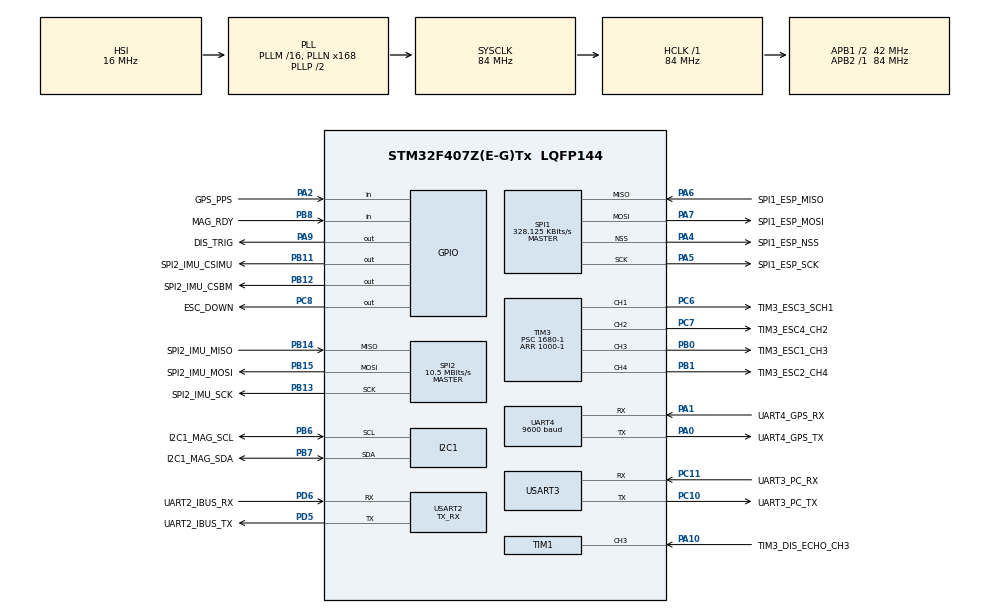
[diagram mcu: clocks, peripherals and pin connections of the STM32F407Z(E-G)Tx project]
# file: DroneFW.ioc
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Dma.Request0=USART2_RX
Dma.USART2_RX.0.Direction=DMA_PERIPH_TO_MEMORY
Dma.USART2_RX.0.FIFOMode=DMA_FIFOMODE_DISABLE
Dma.USART2_RX.0.Instance=DMA1_Stream5
Dma.USART2_RX.0.MemDataAlignment=DMA_MDATAALIGN_BYTE
Dma.USART2_RX.0.MemInc=DMA_MINC_ENABLE
Dma.USART2_RX.0.Mode=DMA_NORMAL
Dma.USART2_RX.0.PeriphDataAlignment=DMA_PDATAALIGN_BYTE
Dma.USART2_RX.0.PeriphInc=DMA_PINC_DISABLE
Dma.USART2_RX.0.Priority=DMA_PRIORITY_VERY_HIGH
FREERTOS.BinarySemaphores01=RemoteBufferSemaphore,Dynamic,NULL;DistSemaphore,Dynamic,NULL;GpsBufferSemaphore,Dynamic,NULL
FREERTOS.Mutexes01=MagnMutex,Dynamic,NULL;RemoteDataMutex,Dynamic,NULL;ImuMutex,Dynamic,NULL;GpsDataMutex,Dynamic,NULL;DistMutex,Dynamic,NULL
FREERTOS.Tasks01=TaskSensorData,3,512,RunTaskSensorData,Default,NULL,Dynamic,NULL,NULL;TaskController,1,128,RunTaskController,Default,NULL,Dynamic,NULL,NULL;TaskRemote,2,512,RunTaskRemote,Default,NULL,Dynamic,NULL,NULL;TaskMotor,0,128,RunTaskMotor,Default,NULL,Dynamic,NULL,NULL;TaskPower,-1,128,RunTaskPower,Default,NULL,Dynamic,NULL,NULL;TaskDiagnostics,-2,512,RunTaskDiagnostics,Default,NULL,Dynamic,NULL,NULL
FREERTOS.configUSE_NEWLIB_REENTRANT=1
FREERTOS.configUSE_PREEMPTION=0
I2C1.I2C_Mode=I2C_Standard
Mcu.Family=STM32F4
Mcu.Name=STM32F407Z(E-G)Tx
Mcu.Package=LQFP144
NVIC.DMA1_Stream5_IRQn=true\:5\:0\:false\:false\:true\:true\:false\:true\:true
NVIC.PriorityGroup=NVIC_PRIORITYGROUP_4
NVIC.TIM1_CC_IRQn=true\:6\:0\:true\:false\:true\:true\:true\:true\:true
NVIC.TIM6_DAC_IRQn=true\:15\:0\:false\:false\:true\:false\:false\:true\:true
NVIC.TimeBase=TIM6_DAC_IRQn
NVIC.TimeBaseIP=TIM6
NVIC.UART4_IRQn=true\:7\:0\:true\:false\:true\:true\:true\:true\:true
NVIC.USART2_IRQn=true\:5\:0\:false\:false\:true\:true\:true\:true\:true
PA0-WKUP.GPIO_Label=UART4_GPS_TX
PA0-WKUP.Mode=Asynchronous
PA0-WKUP.Signal=UART4_TX
PA1.GPIO_Label=UART4_GPS_RX
PA1.Mode=Asynchronous
PA1.Signal=UART4_RX
PA10.GPIO_Label=TIM3_DIS_ECHO_CH3
PA10.Signal=S_TIM1_CH3
PA13.Mode=Trace_Asynchronous_SW
PA13.Signal=SYS_JTMS-SWDIO
PA14.Mode=Trace_Asynchronous_SW
PA14.Signal=SYS_JTCK-SWCLK
PA2.GPIO_Label=GPS_PPS
PA2.Signal=GPIO_Input
PA4.GPIO_Label=SPI1_ESP_NSS
PA4.Mode=NSS_Signal_Hard_Output
PA4.Signal=SPI1_NSS
PA5.GPIO_Label=SPI1_ESP_SCK
PA5.Mode=Full_Duplex_Master
PA5.Signal=SPI1_SCK
PA6.GPIO_Label=SPI1_ESP_MISO
PA6.Mode=Full_Duplex_Master
PA6.Signal=SPI1_MISO
PA7.GPIO_Label=SPI1_ESP_MOSI
PA7.Mode=Full_Duplex_Master
PA7.Signal=SPI1_MOSI
PA9.GPIO_Label=DIS_TRIG
PA9.Signal=GPIO_Output
PB0.GPIO_Label=TIM3_ESC1_CH3
PB0.Signal=S_TIM3_CH3
PB1.GPIO_Label=TIM3_ESC2_CH4
PB1.Signal=S_TIM3_CH4
PB11.GPIO_Label=SPI2_IMU_CSIMU
PB11.Signal=GPIO_Output
PB12.GPIO_Label=SPI2_IMU_CSBM
PB12.Signal=GPIO_Output
PB13.GPIO_Label=SPI2_IMU_SCK
PB13.Mode=Full_Duplex_Master
PB13.Signal=SPI2_SCK
PB14.GPIO_Label=SPI2_IMU_MISO
PB14.Mode=Full_Duplex_Master
PB14.Signal=SPI2_MISO
PB15.GPIO_Label=SPI2_IMU_MOSI
PB15.Mode=Full_Duplex_Master
PB15.Signal=SPI2_MOSI
PB3.Mode=Trace_Asynchronous_SW
PB3.Signal=SYS_JTDO-SWO
PB6.GPIO_Label=I2C1_MAG_SCL
PB6.Mode=I2C
PB6.Signal=I2C1_SCL
PB7.GPIO_Label=I2C1_MAG_SDA
PB7.Mode=I2C
PB7.Signal=I2C1_SDA
PB8.GPIO_Label=MAG_RDY
PB8.Signal=GPIO_Input
PC10.GPIO_Label=UART3_PC_TX
PC10.Mode=Asynchronous
PC10.Signal=USART3_TX
PC11.GPIO_Label=UART3_PC_RX
PC11.Mode=Asynchronous
PC11.Signal=USART3_RX
PC6.GPIO_Label=TIM3_ESC3_SCH1
PC6.Signal=S_TIM3_CH1
PC7.GPIO_Label=TIM3_ESC4_CH2
PC7.Signal=S_TIM3_CH2
PC8.GPIO_Label=ESC_DOWN
PC8.Signal=GPIO_Output
PD5.GPIO_Label=UART2_IBUS_TX
PD5.Mode=Asynchronous
PD5.Signal=USART2_TX
PD6.GPIO_Label=UART2_IBUS_RX
PD6.Mode=Asynchronous
PD6.Signal=USART2_RX
ProjectManager.HeapSize=0x200
ProjectManager.StackSize=0x400
ProjectManager.TargetToolchain=STM32CubeIDE
RCC.48MHZClocksFreq_Value=42000000
RCC.AHBFreq_Value=84000000
RCC.APB1CLKDivider=RCC_HCLK_DIV2
RCC.APB1Freq_Value=42000000
RCC.APB1TimFreq_Value=84000000
RCC.APB2Freq_Value=84000000
RCC.APB2TimFreq_Value=84000000
RCC.CortexFreq_Value=84000000
RCC.HCLKFreq_Value=84000000
RCC.HSE_VALUE=25000000
RCC.HSI_VALUE=16000000
RCC.LSE_VALUE=32768
RCC.PLLN=168
RCC.SYSCLKFreq_VALUE=84000000
RCC.SYSCLKSource=RCC_SYSCLKSOURCE_PLLCLK
RCC.VCOOutputFreq_Value=168000000
SH.S_TIM1_CH3.0=TIM1_CH3,Input_Capture3_from_TI3
SH.S_TIM3_CH1.0=TIM3_CH1,PWM Generation1 CH1
SH.S_TIM3_CH2.0=TIM3_CH2,PWM Generation2 CH2
SH.S_TIM3_CH3.0=TIM3_CH3,PWM Generation3 CH3
SH.S_TIM3_CH4.0=TIM3_CH4,PWM Generation4 CH4
SPI1.BaudRatePrescaler=SPI_BAUDRATEPRESCALER_256
SPI1.CalculateBaudRate=328.125 KBits/s
SPI1.Direction=SPI_DIRECTION_2LINES
SPI1.Mode=SPI_MODE_MASTER
SPI1.VirtualNSS=VM_NSSHARD
SPI1.VirtualType=VM_MASTER
SPI2.BaudRatePrescaler=SPI_BAUDRATEPRESCALER_4
SPI2.CLKPhase=SPI_PHASE_2EDGE
SPI2.CLKPolarity=SPI_POLARITY_HIGH
SPI2.CalculateBaudRate=10.5 MBits/s
SPI2.Direction=SPI_DIRECTION_2LINES
SPI2.Mode=SPI_MODE_MASTER
SPI2.VirtualType=VM_MASTER
TIM1.AutoReloadPreload=TIM_AUTORELOAD_PRELOAD_ENABLE
TIM1.Channel-Input_Capture3_from_TI3=TIM_CHANNEL_3
TIM1.Period=65535-1
TIM1.Prescaler=84-1
TIM3.AutoReloadPreload=TIM_AUTORELOAD_PRELOAD_ENABLE
TIM3.Channel-PWM\ Generation1\ CH1=TIM_CHANNEL_1
TIM3.Channel-PWM\ Generation2\ CH2=TIM_CHANNEL_2
TIM3.Channel-PWM\ Generation3\ CH3=TIM_CHANNEL_3
TIM3.Channel-PWM\ Generation4\ CH4=TIM_CHANNEL_4
TIM3.Period=1000-1
TIM3.Prescaler=1680-1
UART4.BaudRate=9600
UART4.VirtualMode=Asynchronous
USART2.Mode=MODE_TX_RX
USART2.StopBits=STOPBITS_1
USART2.VirtualMode=VM_ASYNC
USART3.VirtualMode=VM_ASYNC
VP_FREERTOS_VS_CMSIS_V1.Mode=CMSIS_V1
VP_SYS_VS_tim6.Mode=TIM6
VP_TIM1_VS_ClockSourceINT.Mode=Internal
VP_TIM3_VS_ClockSourceINT.Mode=Internal
board=custom

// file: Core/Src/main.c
/* USER CODE BEGIN Header */
/**
 ******************************************************************************
 * @file           : main.c
 * @brief          : Main program body
 ******************************************************************************
 * @attention
 *
 * Copyright (c) 2023 STMicroelectronics.
 * All rights reserved.
 *
 * This software is licensed under terms that can be found in the LICENSE file
 * in the root directory of this software component.
 * If no LICENSE file comes with this software, it is provided AS-IS.
 *
 ******************************************************************************
 */
/* USER CODE END Header */
#include "main.h"
#include "cmsis_os.h"

/* USER CODE BEGIN Includes */

#include "stdio.h"
#include "string.h"
#include "stdbool.h"
#include "core_cm4.h"
#include "Globals.h"

#include "TaskSensorData.h"
#include "TaskController.h"
#include "TaskRemote.h"
#include "TaskMotor.h"
#include "TaskPower.h"
#include "TaskDiagnostics.h"

#include "Debug.h"

/* USER CODE END Includes */

I2C_HandleTypeDef hi2c1;

SPI_HandleTypeDef hspi1;
SPI_HandleTypeDef hspi2;

TIM_HandleTypeDef htim1;
TIM_HandleTypeDef htim3;

UART_HandleTypeDef huart4;
UART_HandleTypeDef huart2;
UART_HandleTypeDef huart3;
DMA_HandleTypeDef hdma_usart2_rx;

osThreadId TaskSensorDataHandle;
osThreadId TaskControllerHandle;
osThreadId TaskRemoteHandle;
osThreadId TaskMotorHandle;
osThreadId TaskPowerHandle;
osThreadId TaskDiagnosticsHandle;
osMutexId MagnMutexHandle;
osMutexId RemoteDataMutexHandle;
osMutexId ImuMutexHandle;
osMutexId GpsDataMutexHandle;
osMutexId DistMutexHandle;
osSemaphoreId RemoteBufferSemaphoreHandle;
osSemaphoreId DistSemaphoreHandle;
osSemaphoreId GpsBufferSemaphoreHandle;

void SystemClock_Config(void);
static void MX_GPIO_Init(void);
static void MX_DMA_Init(void);
static void MX_SPI2_Init(void);
static void MX_TIM3_Init(void);
static void MX_USART2_UART_Init(void);
static void MX_I2C1_Init(void);
static void MX_TIM1_Init(void);
static void MX_UART4_Init(void);
static void MX_SPI1_Init(void);
static void MX_USART3_UART_Init(void);
void RunTaskSensorData(void const * argument);
void RunTaskController(void const * argument);
void RunTaskRemote(void const * argument);
void RunTaskMotor(void const * argument);
void RunTaskPower(void const * argument);
void RunTaskDiagnostics(void const * argument);

/* USER CODE BEGIN 0 */
void HAL_UART_RxCpltCallback(UART_HandleTypeDef *huart)
{
	if (huart == &huart2)
	{
		Uart2CallbackCounter++;

		// If we are just getting the header bytes or the actual data
		if ((IbusPackageIndex == 0 && Uart2Buffer == 0x20)
				|| (IbusPackageIndex == 1 && Uart2Buffer == 0x40)
				|| (1 < IbusPackageIndex && IbusPackageIndex < IBUS_BUFFSIZE))
		{
			IbusPackageBuffer[IbusPackageIndex] = Uart2Buffer;

			if (IbusPackageIndex < IBUS_BUFFSIZE-1)
				IbusPackageIndex++;
			else
			{
				IbusPackageIndex = 0;
				ProcessIbusPackageBuffer = true;

				osSemaphoreRelease(RemoteBufferSemaphoreHandle);
			}
		}
		else
		{
			IbusPackageIndex = 0;

			char str[32];
			sprintf(str, "UART Receive Error: [%d]\r\n", Uart2CallbackCounter);
			HAL_UART_Transmit(&huart3, str, strlen(str), HAL_MAX_DELAY);
		}

		HAL_UART_Receive_IT(&huart2, &Uart2Buffer, 1);
	}
	else if (huart == &huart4)
	{
		if ((GPSPackageIndex == 0 && Uart4Buffer == '$')
				|| (GPSPackageIndex == 1 && Uart4Buffer == 'G')
				|| (1 < GPSPackageIndex && GPSPackageIndex < GPS_BUFFSIZE))
		{
			GPSPackageBuffer[GPSPackageIndex] = Uart4Buffer;

			if (GPSPackageIndex < GPS_BUFFSIZE-1)
				GPSPackageIndex++;
			else
			{
				GPSPackageIndex = 0;
				ProcessGPSPackageBuffer = true;

				osSemaphoreRelease(GpsBufferSemaphoreHandle);
			}
		}
		else
		{
			GPSPackageIndex = 0;

			// TODO
			//char str[32];
			//sprintf(str, "UART Receive Error: GPS\r\n");
			//HAL_UART_Transmit(&huart3, str, strlen(str), HAL_MAX_DELAY);
		}

		HAL_UART_Receive_DMA(&huart4, &Uart4Buffer, 1);
	}

}

void HAL_UART_ErrorCallback(UART_HandleTypeDef *huart)
{
	if (huart == &huart2)
	{
		if (huart->ErrorCode != 0)
		{
			Diag = false;

			char str[32];
			sprintf(str, "UART2 Error Callback: %d\r\n", huart->ErrorCode);
			HAL_UART_Transmit(&huart3, str, strlen(str), HAL_MAX_DELAY);
		}
	}
	else if (huart == &huart4)
		{
			if (huart->ErrorCode != 0)
			{
				Diag = false;

				char str[32];
				sprintf(str, "UART4 Error Callback: %d\r\n", huart->ErrorCode);
				HAL_UART_Transmit(&huart3, str, strlen(str), HAL_MAX_DELAY);
			}
		}
}

void HAL_TIM_IC_CaptureCallback(TIM_HandleTypeDef *htim)
{
	if (htim == &htim1)
	{
		HCSR04_TMR_IC_ISR(&HCSR04, htim);
	}
}
/* USER CODE END 0 */

int main(void)
{

  /* MCU Configuration--------------------------------------------------------*/

  /* Reset of all peripherals, Initializes the Flash interface and the Systick. */
  HAL_Init();

  /* Configure the system clock */
  SystemClock_Config();

  /* Initialize all configured peripherals */
  MX_GPIO_Init();
  MX_DMA_Init();
  MX_SPI2_Init();
  MX_TIM3_Init();
  MX_USART2_UART_Init();
  MX_I2C1_Init();
  MX_TIM1_Init();
  MX_UART4_Init();
  MX_SPI1_Init();
  MX_USART3_UART_Init();
  /* USER CODE BEGIN 2 */

  	// Init IMU
	if(MPU_Init(&hspi2, &MPU9250) == 0 && BMP280_initialize(&hspi2, &BMP280) == 0)
		IsImuAvailable = true;
	else
		IsImuAvailable = false;

	// Init Magnetometer
	if (HMC5883L_Init() == 0)
		IsMagnAvailable = true;
	else
		IsMagnAvailable = false;

	// Init Distance sensor
	if (HCSR04_Init(&HCSR04, &htim1) == 0)
		IsDistAvailable = true;
	else
		IsDistAvailable = false;

	// Init GPS
//	if (GPS_Init() == 0)
//		IsGpsAvailable = true;
//	else
//		IsGpsAvailable = false;

  /* USER CODE END 2 */

  /* Create the mutex(es) */
  /* definition and creation of MagnMutex */
  osMutexDef(MagnMutex);
  MagnMutexHandle = osMutexCreate(osMutex(MagnMutex));

  /* definition and creation of RemoteDataMutex */
  osMutexDef(RemoteDataMutex);
  RemoteDataMutexHandle = osMutexCreate(osMutex(RemoteDataMutex));

  /* definition and creation of ImuMutex */
  osMutexDef(ImuMutex);
  ImuMutexHandle = osMutexCreate(osMutex(ImuMutex));

  /* definition and creation of GpsDataMutex */
  osMutexDef(GpsDataMutex);
  GpsDataMutexHandle = osMutexCreate(osMutex(GpsDataMutex));

  /* definition and creation of DistMutex */
  osMutexDef(DistMutex);
  DistMutexHandle = osMutexCreate(osMutex(DistMutex));

  /* Create the semaphores(s) */
  /* definition and creation of RemoteBufferSemaphore */
  osSemaphoreDef(RemoteBufferSemaphore);
  RemoteBufferSemaphoreHandle = osSemaphoreCreate(osSemaphore(RemoteBufferSemaphore), 1);

  /* definition and creation of DistSemaphore */
  osSemaphoreDef(DistSemaphore);
  DistSemaphoreHandle = osSemaphoreCreate(osSemaphore(DistSemaphore), 1);

  /* definition and creation of GpsBufferSemaphore */
  osSemaphoreDef(GpsBufferSemaphore);
  GpsBufferSemaphoreHandle = osSemaphoreCreate(osSemaphore(GpsBufferSemaphore), 1);

  /* Create the thread(s) */
  /* definition and creation of TaskSensorData */
  osThreadDef(TaskSensorData, RunTaskSensorData, osPriorityRealtime, 0, 512);
  TaskSensorDataHandle = osThreadCreate(osThread(TaskSensorData), NULL);

  /* definition and creation of TaskController */
  osThreadDef(TaskController, RunTaskController, osPriorityAboveNormal, 0, 128);
  TaskControllerHandle = osThreadCreate(osThread(TaskController), NULL);

  /* definition and creation of TaskRemote */
  osThreadDef(TaskRemote, RunTaskRemote, osPriorityHigh, 0, 512);
  TaskRemoteHandle = osThreadCreate(osThread(TaskRemote), NULL);

  /* definition and creation of TaskMotor */
  osThreadDef(TaskMotor, RunTaskMotor, osPriorityNormal, 0, 128);
  TaskMotorHandle = osThreadCreate(osThread(TaskMotor), NULL);

  /* definition and creation of TaskPower */
  osThreadDef(TaskPower, RunTaskPower, osPriorityBelowNormal, 0, 128);
  TaskPowerHandle = osThreadCreate(osThread(TaskPower), NULL);

  /* definition and creation of TaskDiagnostics */
  osThreadDef(TaskDiagnostics, RunTaskDiagnostics, osPriorityLow, 0, 512);
  TaskDiagnosticsHandle = osThreadCreate(osThread(TaskDiagnostics), NULL);

  /* Start scheduler */
  osKernelStart();
  /* We should never get here as control is now taken by the scheduler */
  /* Infinite loop */
  /* USER CODE BEGIN WHILE */

	osMutexRelease(MagnMutexHandle);
	osMutexRelease(RemoteDataMutexHandle);
	osMutexRelease(ImuMutexHandle);
	osMutexRelease(GpsDataMutexHandle);

	while (1)
	{
    /* USER CODE END WHILE */

	}
}

void SystemClock_Config(void)
{
  RCC_OscInitTypeDef RCC_OscInitStruct = {0};
  RCC_ClkInitTypeDef RCC_ClkInitStruct = {0};

  /** Configure the main internal regulator output voltage
  */
  __HAL_RCC_PWR_CLK_ENABLE();
  __HAL_PWR_VOLTAGESCALING_CONFIG(PWR_REGULATOR_VOLTAGE_SCALE1);

  /** Initializes the RCC Oscillators according to the specified parameters
  * in the RCC_OscInitTypeDef structure.
  */
  RCC_OscInitStruct.OscillatorType = RCC_OSCILLATORTYPE_HSI;
  RCC_OscInitStruct.HSIState = RCC_HSI_ON;
  RCC_OscInitStruct.HSICalibrationValue = RCC_HSICALIBRATION_DEFAULT;
  RCC_OscInitStruct.PLL.PLLState = RCC_PLL_ON;
  RCC_OscInitStruct.PLL.PLLSource = RCC_PLLSOURCE_HSI;
  RCC_OscInitStruct.PLL.PLLM = 16;
  RCC_OscInitStruct.PLL.PLLN = 168;
  RCC_OscInitStruct.PLL.PLLP = RCC_PLLP_DIV2;
  RCC_OscInitStruct.PLL.PLLQ = 4;
  if (HAL_RCC_OscConfig(&RCC_OscInitStruct) != HAL_OK)
  {
    Error_Handler();
  }

  /** Initializes the CPU, AHB and APB buses clocks
  */
  RCC_ClkInitStruct.ClockType = RCC_CLOCKTYPE_HCLK|RCC_CLOCKTYPE_SYSCLK
                              |RCC_CLOCKTYPE_PCLK1|RCC_CLOCKTYPE_PCLK2;
  RCC_ClkInitStruct.SYSCLKSource = RCC_SYSCLKSOURCE_PLLCLK;
  RCC_ClkInitStruct.AHBCLKDivider = RCC_SYSCLK_DIV1;
  RCC_ClkInitStruct.APB1CLKDivider = RCC_HCLK_DIV2;
  RCC_ClkInitStruct.APB2CLKDivider = RCC_HCLK_DIV1;

  if (HAL_RCC_ClockConfig(&RCC_ClkInitStruct, FLASH_LATENCY_2) != HAL_OK)
  {
    Error_Handler();
  }
}

static void MX_I2C1_Init(void)
{

  hi2c1.Instance = I2C1;
  hi2c1.Init.ClockSpeed = 100000;
  hi2c1.Init.DutyCycle = I2C_DUTYCYCLE_2;
  hi2c1.Init.OwnAddress1 = 0;
  hi2c1.Init.AddressingMode = I2C_ADDRESSINGMODE_7BIT;
  hi2c1.Init.DualAddressMode = I2C_DUALADDRESS_DISABLE;
  hi2c1.Init.OwnAddress2 = 0;
  hi2c1.Init.GeneralCallMode = I2C_GENERALCALL_DISABLE;
  hi2c1.Init.NoStretchMode = I2C_NOSTRETCH_DISABLE;
  if (HAL_I2C_Init(&hi2c1) != HAL_OK)
  {
    Error_Handler();
  }

}

static void MX_SPI1_Init(void)
{

  /* SPI1 parameter configuration*/
  hspi1.Instance = SPI1;
  hspi1.Init.Mode = SPI_MODE_MASTER;
  hspi1.Init.Direction = SPI_DIRECTION_2LINES;
  hspi1.Init.DataSize = SPI_DATASIZE_8BIT;
  hspi1.Init.CLKPolarity = SPI_POLARITY_LOW;
  hspi1.Init.CLKPhase = SPI_PHASE_1EDGE;
  hspi1.Init.NSS = SPI_NSS_HARD_OUTPUT;
  hspi1.Init.BaudRatePrescaler = SPI_BAUDRATEPRESCALER_256;
  hspi1.Init.FirstBit = SPI_FIRSTBIT_MSB;
  hspi1.Init.TIMode = SPI_TIMODE_DISABLE;
  hspi1.Init.CRCCalculation = SPI_CRCCALCULATION_DISABLE;
  hspi1.Init.CRCPolynomial = 10;
  if (HAL_SPI_Init(&hspi1) != HAL_OK)
  {
    Error_Handler();
  }

}

static void MX_SPI2_Init(void)
{

  /* SPI2 parameter configuration*/
  hspi2.Instance = SPI2;
  hspi2.Init.Mode = SPI_MODE_MASTER;
  hspi2.Init.Direction = SPI_DIRECTION_2LINES;
  hspi2.Init.DataSize = SPI_DATASIZE_8BIT;
  hspi2.Init.CLKPolarity = SPI_POLARITY_HIGH;
  hspi2.Init.CLKPhase = SPI_PHASE_2EDGE;
  hspi2.Init.NSS = SPI_NSS_SOFT;
  hspi2.Init.BaudRatePrescaler = SPI_BAUDRATEPRESCALER_4;
  hspi2.Init.FirstBit = SPI_FIRSTBIT_MSB;
  hspi2.Init.TIMode = SPI_TIMODE_DISABLE;
  hspi2.Init.CRCCalculation = SPI_CRCCALCULATION_DISABLE;
  hspi2.Init.CRCPolynomial = 10;
  if (HAL_SPI_Init(&hspi2) != HAL_OK)
  {
    Error_Handler();
  }

}

static void MX_TIM1_Init(void)
{

  TIM_ClockConfigTypeDef sClockSourceConfig = {0};
  TIM_MasterConfigTypeDef sMasterConfig = {0};
  TIM_IC_InitTypeDef sConfigIC = {0};

  htim1.Instance = TIM1;
  htim1.Init.Prescaler = 84-1;
  htim1.Init.CounterMode = TIM_COUNTERMODE_UP;
  htim1.Init.Period = 65535-1;
  htim1.Init.ClockDivision = TIM_CLOCKDIVISION_DIV1;
  htim1.Init.RepetitionCounter = 0;
  htim1.Init.AutoReloadPreload = TIM_AUTORELOAD_PRELOAD_ENABLE;
  if (HAL_TIM_Base_Init(&htim1) != HAL_OK)
  {
    Error_Handler();
  }
  sClockSourceConfig.ClockSource = TIM_CLOCKSOURCE_INTERNAL;
  if (HAL_TIM_ConfigClockSource(&htim1, &sClockSourceConfig) != HAL_OK)
  {
    Error_Handler();
  }
  if (HAL_TIM_IC_Init(&htim1) != HAL_OK)
  {
    Error_Handler();
  }
  sMasterConfig.MasterOutputTrigger = TIM_TRGO_RESET;
  sMasterConfig.MasterSlaveMode = TIM_MASTERSLAVEMODE_DISABLE;
  if (HAL_TIMEx_MasterConfigSynchronization(&htim1, &sMasterConfig) != HAL_OK)
  {
    Error_Handler();
  }
  sConfigIC.ICPolarity = TIM_INPUTCHANNELPOLARITY_RISING;
  sConfigIC.ICSelection = TIM_ICSELECTION_DIRECTTI;
  sConfigIC.ICPrescaler = TIM_ICPSC_DIV1;
  sConfigIC.ICFilter = 0;
  if (HAL_TIM_IC_ConfigChannel(&htim1, &sConfigIC, TIM_CHANNEL_3) != HAL_OK)
  {
    Error_Handler();
  }

}

static void MX_TIM3_Init(void)
{

  TIM_ClockConfigTypeDef sClockSourceConfig = {0};
  TIM_MasterConfigTypeDef sMasterConfig = {0};
  TIM_OC_InitTypeDef sConfigOC = {0};

  htim3.Instance = TIM3;
  htim3.Init.Prescaler = 1680-1;
  htim3.Init.CounterMode = TIM_COUNTERMODE_UP;
  htim3.Init.Period = 1000-1;
  htim3.Init.ClockDivision = TIM_CLOCKDIVISION_DIV1;
  htim3.Init.AutoReloadPreload = TIM_AUTORELOAD_PRELOAD_ENABLE;
  if (HAL_TIM_Base_Init(&htim3) != HAL_OK)
  {
    Error_Handler();
  }
  sClockSourceConfig.ClockSource = TIM_CLOCKSOURCE_INTERNAL;
  if (HAL_TIM_ConfigClockSource(&htim3, &sClockSourceConfig) != HAL_OK)
  {
    Error_Handler();
  }
  if (HAL_TIM_PWM_Init(&htim3) != HAL_OK)
  {
    Error_Handler();
  }
  sMasterConfig.MasterOutputTrigger = TIM_TRGO_RESET;
  sMasterConfig.MasterSlaveMode = TIM_MASTERSLAVEMODE_DISABLE;
  if (HAL_TIMEx_MasterConfigSynchronization(&htim3, &sMasterConfig) != HAL_OK)
  {
    Error_Handler();
  }
  sConfigOC.OCMode = TIM_OCMODE_PWM1;
  sConfigOC.Pulse = 0;
  sConfigOC.OCPolarity = TIM_OCPOLARITY_HIGH;
  sConfigOC.OCFastMode = TIM_OCFAST_DISABLE;
  if (HAL_TIM_PWM_ConfigChannel(&htim3, &sConfigOC, TIM_CHANNEL_1) != HAL_OK)
  {
    Error_Handler();
  }
  if (HAL_TIM_PWM_ConfigChannel(&htim3, &sConfigOC, TIM_CHANNEL_2) != HAL_OK)
  {
    Error_Handler();
  }
  if (HAL_TIM_PWM_ConfigChannel(&htim3, &sConfigOC, TIM_CHANNEL_3) != HAL_OK)
  {
    Error_Handler();
  }
  if (HAL_TIM_PWM_ConfigChannel(&htim3, &sConfigOC, TIM_CHANNEL_4) != HAL_OK)
  {
    Error_Handler();
  }
  HAL_TIM_MspPostInit(&htim3);

}

static void MX_UART4_Init(void)
{

  huart4.Instance = UART4;
  huart4.Init.BaudRate = 9600;
  huart4.Init.WordLength = UART_WORDLENGTH_8B;
  huart4.Init.StopBits = UART_STOPBITS_1;
  huart4.Init.Parity = UART_PARITY_NONE;
  huart4.Init.Mode = UART_MODE_TX_RX;
  huart4.Init.HwFlowCtl = UART_HWCONTROL_NONE;
  huart4.Init.OverSampling = UART_OVERSAMPLING_16;
  if (HAL_UART_Init(&huart4) != HAL_OK)
  {
    Error_Handler();
  }

}

static void MX_USART2_UART_Init(void)
{

  huart2.Instance = USART2;
  huart2.Init.BaudRate = 115200;
  huart2.Init.WordLength = UART_WORDLENGTH_8B;
  huart2.Init.StopBits = UART_STOPBITS_1;
  huart2.Init.Parity = UART_PARITY_NONE;
  huart2.Init.Mode = UART_MODE_TX_RX;
  huart2.Init.HwFlowCtl = UART_HWCONTROL_NONE;
  huart2.Init.OverSampling = UART_OVERSAMPLING_16;
  if (HAL_UART_Init(&huart2) != HAL_OK)
  {
    Error_Handler();
  }

}

static void MX_USART3_UART_Init(void)
{

  huart3.Instance = USART3;
  huart3.Init.BaudRate = 115200;
  huart3.Init.WordLength = UART_WORDLENGTH_8B;
  huart3.Init.StopBits = UART_STOPBITS_1;
  huart3.Init.Parity = UART_PARITY_NONE;
  huart3.Init.Mode = UART_MODE_TX_RX;
  huart3.Init.HwFlowCtl = UART_HWCONTROL_NONE;
  huart3.Init.OverSampling = UART_OVERSAMPLING_16;
  if (HAL_UART_Init(&huart3) != HAL_OK)
  {
    Error_Handler();
  }

}

static void MX_DMA_Init(void)
{

  /* DMA controller clock enable */
  __HAL_RCC_DMA1_CLK_ENABLE();

  /* DMA interrupt init */
  /* DMA1_Stream5_IRQn interrupt configuration */
  HAL_NVIC_SetPriority(DMA1_Stream5_IRQn, 5, 0);
  HAL_NVIC_EnableIRQ(DMA1_Stream5_IRQn);

}

static void MX_GPIO_Init(void)
{
  GPIO_InitTypeDef GPIO_InitStruct = {0};

  /* GPIO Ports Clock Enable */
  __HAL_RCC_GPIOA_CLK_ENABLE();
  __HAL_RCC_GPIOB_CLK_ENABLE();
  __HAL_RCC_GPIOC_CLK_ENABLE();
  __HAL_RCC_GPIOD_CLK_ENABLE();

  /*Configure GPIO pin Output Level */
  HAL_GPIO_WritePin(GPIOB, SPI2_IMU_CSIMU_Pin|SPI2_IMU_CSBM_Pin, GPIO_PIN_RESET);

  /*Configure GPIO pin Output Level */
  HAL_GPIO_WritePin(ESC_DOWN_GPIO_Port, ESC_DOWN_Pin, GPIO_PIN_RESET);

  /*Configure GPIO pin Output Level */
  HAL_GPIO_WritePin(DIS_TRIG_GPIO_Port, DIS_TRIG_Pin, GPIO_PIN_RESET);

  /*Configure GPIO pin : GPS_PPS_Pin */
  GPIO_InitStruct.Pin = GPS_PPS_Pin;
  GPIO_InitStruct.Mode = GPIO_MODE_INPUT;
  GPIO_InitStruct.Pull = GPIO_NOPULL;
  HAL_GPIO_Init(GPS_PPS_GPIO_Port, &GPIO_InitStruct);

  /*Configure GPIO pins : SPI2_IMU_CSIMU_Pin SPI2_IMU_CSBM_Pin */
  GPIO_InitStruct.Pin = SPI2_IMU_CSIMU_Pin|SPI2_IMU_CSBM_Pin;
  GPIO_InitStruct.Mode = GPIO_MODE_OUTPUT_PP;
  GPIO_InitStruct.Pull = GPIO_NOPULL;
  GPIO_InitStruct.Speed = GPIO_SPEED_FREQ_LOW;
  HAL_GPIO_Init(GPIOB, &GPIO_InitStruct);

  /*Configure GPIO pin : ESC_DOWN_Pin */
  GPIO_InitStruct.Pin = ESC_DOWN_Pin;
  GPIO_InitStruct.Mode = GPIO_MODE_OUTPUT_PP;
  GPIO_InitStruct.Pull = GPIO_NOPULL;
  GPIO_InitStruct.Speed = GPIO_SPEED_FREQ_LOW;
  HAL_GPIO_Init(ESC_DOWN_GPIO_Port, &GPIO_InitStruct);

  /*Configure GPIO pin : DIS_TRIG_Pin */
  GPIO_InitStruct.Pin = DIS_TRIG_Pin;
  GPIO_InitStruct.Mode = GPIO_MODE_OUTPUT_PP;
  GPIO_InitStruct.Pull = GPIO_NOPULL;
  GPIO_InitStruct.Speed = GPIO_SPEED_FREQ_LOW;
  HAL_GPIO_Init(DIS_TRIG_GPIO_Port, &GPIO_InitStruct);

  /*Configure GPIO pin : MAG_RDY_Pin */
  GPIO_InitStruct.Pin = MAG_RDY_Pin;
  GPIO_InitStruct.Mode = GPIO_MODE_INPUT;
  GPIO_InitStruct.Pull = GPIO_NOPULL;
  HAL_GPIO_Init(MAG_RDY_GPIO_Port, &GPIO_InitStruct);

}

void RunTaskSensorData(void const * argument)
{
  /* USER CODE BEGIN 5 */
	TaskSensorData(argument);
  /* USER CODE END 5 */
}

void RunTaskController(void const * argument)
{
  /* USER CODE BEGIN RunTaskController */
	TaskController(argument);
  /* USER CODE END RunTaskController */
}

void RunTaskRemote(void const * argument)
{
  /* USER CODE BEGIN RunTaskRemote */
	TaskRemote(argument);
  /* USER CODE END RunTaskRemote */
}

void RunTaskMotor(void const * argument)
{
  /* USER CODE BEGIN RunTaskMotor */
	TaskMotor(argument);
  /* USER CODE END RunTaskMotor */
}

void RunTaskPower(void const * argument)
{
  /* USER CODE BEGIN RunTaskPower */
	TaskPower(argument);
  /* USER CODE END RunTaskPower */
}

void RunTaskDiagnostics(void const * argument)
{
  /* USER CODE BEGIN RunTaskDiagnostics */
	TaskDiagnostics(argument);
  /* USER CODE END RunTaskDiagnostics */
}

void HAL_TIM_PeriodElapsedCallback(TIM_HandleTypeDef *htim)
{
  if (htim->Instance == TIM6) {
    HAL_IncTick();
  }
}

void Error_Handler(void)
{
	__disable_irq();
	while (1)
	{
	}
}

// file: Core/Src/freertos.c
/* USER CODE BEGIN Header */
/**
 ******************************************************************************
 * File Name          : freertos.c
 * Description        : Code for freertos applications
 ******************************************************************************
 * @attention
 *
 * Copyright (c) 2023 STMicroelectronics.
 * All rights reserved.
 *
 * This software is licensed under terms that can be found in the LICENSE file
 * in the root directory of this software component.
 * If no LICENSE file comes with this software, it is provided AS-IS.
 *
 ******************************************************************************
 */
/* USER CODE END Header */

#include "FreeRTOS.h"
#include "task.h"
#include "main.h"

/* GetIdleTaskMemory prototype (linked to static allocation support) */
void vApplicationGetIdleTaskMemory( StaticTask_t **ppxIdleTaskTCBBuffer, StackType_t **ppxIdleTaskStackBuffer, uint32_t *pulIdleTaskStackSize );

/* USER CODE BEGIN GET_IDLE_TASK_MEMORY */
static StaticTask_t xIdleTaskTCBBuffer;
static StackType_t xIdleStack[configMINIMAL_STACK_SIZE];

void vApplicationGetIdleTaskMemory(StaticTask_t **ppxIdleTaskTCBBuffer,
		StackType_t **ppxIdleTaskStackBuffer, uint32_t *pulIdleTaskStackSize)
{
	*ppxIdleTaskTCBBuffer = &xIdleTaskTCBBuffer;
	*ppxIdleTaskStackBuffer = &xIdleStack[0];
	*pulIdleTaskStackSize = configMINIMAL_STACK_SIZE;
	/* place for user code */
}
/* USER CODE END GET_IDLE_TASK_MEMORY */
